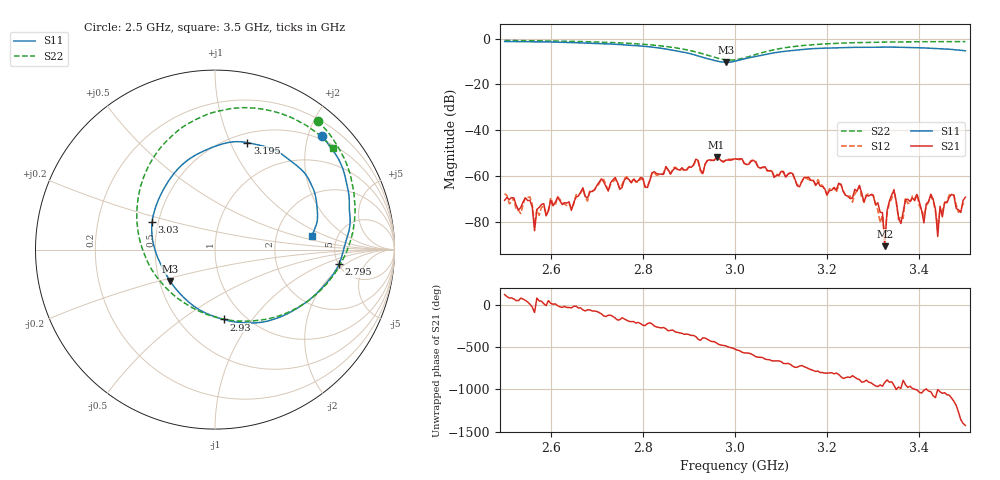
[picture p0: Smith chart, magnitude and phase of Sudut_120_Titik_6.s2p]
# Hz S RI R 50
! CMT, C1220, 16058040, 17.2.0/1
! Date: 15/08/2018 10:16:53
! Data: Format (Calibration Info)
! Freq  S11: Re/Im (F2)  S21: Re/Im (F2)  S12: Re/Im (F2)  S22: Re/Im (F2)
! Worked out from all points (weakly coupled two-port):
!   201 points, 2.5 GHz to 3.5 GHz, reference 50 ohm
!   highest |S21| = -51.64 dB at 2.96 GHz (marker M1); lowest = -90.7 dB at 3.325 GHz (marker M2)
!   lowest |S11| = -10.3 dB at 2.98 GHz (marker M3), VSWR 1.88, Z = 28.4 - j11 ohm
!   |S11| at or under -10 dB: 2.966 GHz to 2.996 GHz (29.65 MHz wide, 0.995 % of centre)
!   |S22| runs from -9.3 to -0.7 dB; largest |S21 - S12| = 0.00022
!   S11 on the Smith chart (normalised r, x): 2.5 GHz: 0.43, +2.25; 2.795 GHz: 5.05, -1.59; 2.93 GHz: 0.80, -0.74; 3.03 GHz: 0.46, +0.17; 3.195 GHz: 0.60, +1.16; 3.5 GHz: 3.24, +0.71
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2.5e9  0.5967 0.6332  -0.000165 0.000243  -0.000215 0.000351  0.5731 0.7166
2.555e9  0.6536 0.556  0.00029 4.57e-05  0.000333 9.6e-05  0.6344 0.649
2.565e9  0.6657 0.5403  1.57e-06 -6.38e-05  4.19e-05 -7.59e-05  0.6452 0.6342
2.67e9  0.7444 0.317  0.000285 -0.000472  0.000213 -0.000476  0.7452 0.4436
2.795e9  0.6911 -0.0813  -0.00071 0.0006  -0.000664 0.00054  0.7629 0.078
2.835e9  0.5886 -0.2216  -6.44e-05 0.0011  -0.000143 0.00106  0.7012 -0.0765
2.93e9  0.0476 -0.3893  0.00098 -0.000564  0.000954 -0.000473  0.2553 -0.3924
2.96e9  -0.1492 -0.29  -1.84e-05 -0.00262  0.000123 -0.00276  0.0206 -0.3811
2.98e9  -0.2504 -0.1749  -0.00125 -0.00183  -0.0012 -0.00188  -0.137 -0.3183
3e9  -0.3203 -0.0421  -0.0023 -0.000633  -0.00231 -0.000553  -0.2743 -0.2114
3.03e9  -0.3506 0.1549  -0.00155 0.000918  -0.00159 0.001  -0.407 0.011
3.17e9  0.0994 0.6003  0.000437 -0.000676  0.000499 -0.000617  -0.0735 0.7403
3.195e9  0.1796 0.5962  2.07e-05 -0.000517  -1.46e-05 -0.000493  0.0191 0.7714
3.27e9  0.3753 0.5295  -0.000599 -0.000174  -0.000583 -0.000138  0.2552 0.7841
3.325e9  0.4814 0.4453  -2.78e-05 9.14e-06  -4.47e-05 1.38e-05  0.386 0.7513
3.335e9  0.4966 0.4296  -0.000271 7.6e-05  -0.000254 3.99e-05  0.4078 0.7428
3.36e9  0.5259 0.3842  -1.66e-06 9.14e-05  -2.05e-05 0.000131  0.456 0.7204
3.395e9  0.5554 0.3149  0.000116 0.000377  0.000183 0.00036  0.5162 0.6866
3.41e9  0.563 0.2829  3.49e-05 8.79e-05  4.24e-05 0.000127  0.5405 0.6693
3.425e9  0.5676 0.2464  0.000246 0.000317  0.000266 0.000241  0.5631 0.6537
3.44e9  0.5704 0.2099  1.05e-05 4.65e-05  8.06e-05 -1.33e-05  0.5847 0.6354
3.5e9  0.5408 0.0771  0.000336 7.03e-05  0.000265 4.41e-05  0.6562 0.565
